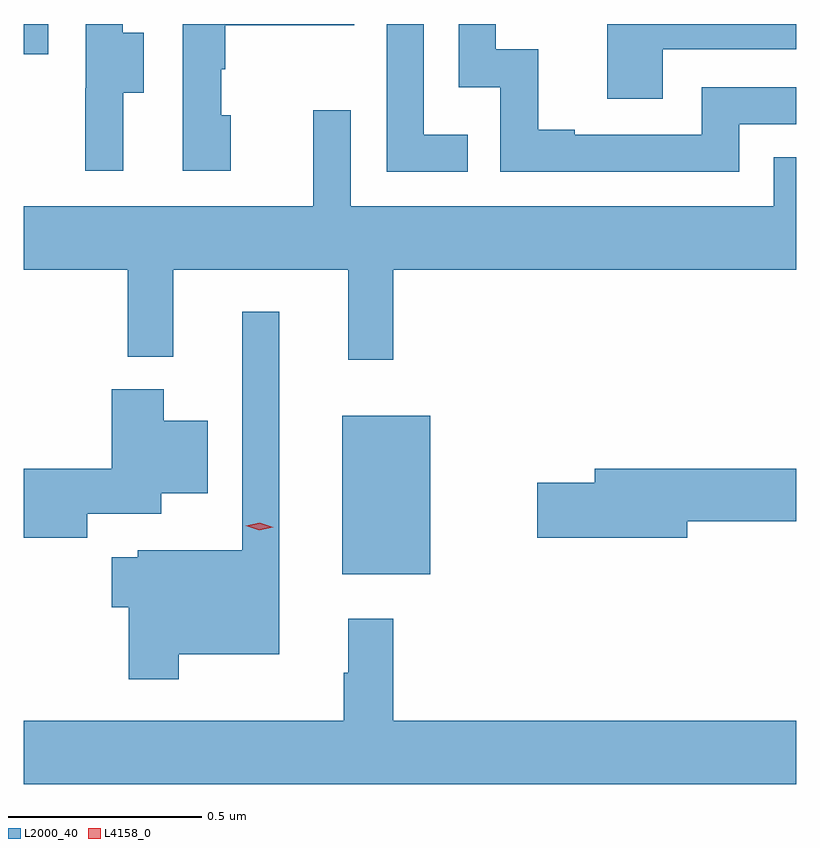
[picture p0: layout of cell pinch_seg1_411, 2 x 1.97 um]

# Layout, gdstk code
import gdstk
lib = gdstk.Library(unit=1e-6, precision=1e-09)
def R(c, l, rs):  # rectangles x0, y0, x1, y1
    for r in rs: c.add(gdstk.rectangle(r[:2], r[2:], *l))
def P(c, l, *ps):  # polygons
    for p in ps: c.add(gdstk.Polygon(p, *l))
L2000_40 = (2000, 40)
L4158_0 = (4158, 0)

pinch_seg1_411 = lib.new_cell('pinch_seg1_411')
R(pinch_seg1_411, L2000_40, [(947.381,536.291,947.608,536.701), (946.556,537.638,946.619,537.716)])
P(pinch_seg1_411, L2000_40, [(947.705,537.429),(947.592,537.429),(947.592,537.716),(947.496,537.716),(947.496,537.333),(947.705,537.333)],
  [(947.092,537.48),(947.067,537.48),(947.067,537.599),(947.077,537.599),(947.077,537.713),(947.411,537.713),(947.411,537.716),(946.968,537.716),(946.968,537.336),(947.092,537.336)],
  [(946.813,537.538),(946.867,537.538),(946.867,537.693),(946.812,537.693),(946.812,537.716),(946.716,537.716),(946.716,537.549),(946.715,537.549),(946.715,537.336),(946.813,537.336)],
  [(948.408,537.456),(948.556,537.456),(948.556,537.552),(948.312,537.552),(948.312,537.429),(947.983,537.429),(947.983,537.442),(947.888,537.442),(947.888,537.65),(947.778,537.65),(947.778,537.716),(947.682,537.716),(947.682,537.552),(947.79,537.552),(947.79,537.333),(948.408,537.333)],
  [(948.211,537.651),(948.556,537.651),(948.556,537.716),(948.067,537.716),(948.067,537.522),(948.211,537.522)],
  [(947.513,537.08),(948.556,537.08),(948.556,537.371),(948.498,537.371),(948.498,537.244),(947.403,537.244),(947.403,537.493),(947.306,537.493),(947.306,537.244),(946.556,537.244),(946.556,537.08),(946.825,537.08),(946.825,536.855),(946.943,536.855),(946.943,537.08),(947.396,537.08),(947.396,536.847),(947.513,536.847)],
  [(946.957,536.084),(947.218,536.084),(947.218,536.971),(947.121,536.971),(947.121,536.353),(946.851,536.353),(946.851,536.335),(946.784,536.335),(946.784,536.206),(946.828,536.206),(946.828,536.019),(946.957,536.019)],
  [(946.72,536.448),(946.912,536.448),(946.912,536.501),(947.032,536.501),(947.032,536.689),(946.918,536.689),(946.918,536.77),(946.784,536.77),(946.784,536.564),(946.556,536.564),(946.556,536.386),(946.72,536.386)],
  [(948.274,536.428),(948.556,536.428),(948.556,536.564),(948.035,536.564),(948.035,536.528),(947.886,536.528),(947.886,536.386),(948.274,536.386)],
  [(948.556,535.912),(947.513,535.912),(947.513,536.176),(947.396,536.176),(947.396,536.036),(947.385,536.036),(947.385,535.912),(946.556,535.912),(946.556,535.748),(948.556,535.748)])
P(pinch_seg1_411, L4158_0, [(947.166,536.405),(947.131,536.417),(947.131,536.417),(947.131,536.417),(947.167,536.425),(947.202,536.413),(947.202,536.413),(947.202,536.413)])

lib.write_gds('pinch_seg1_411.gds')
